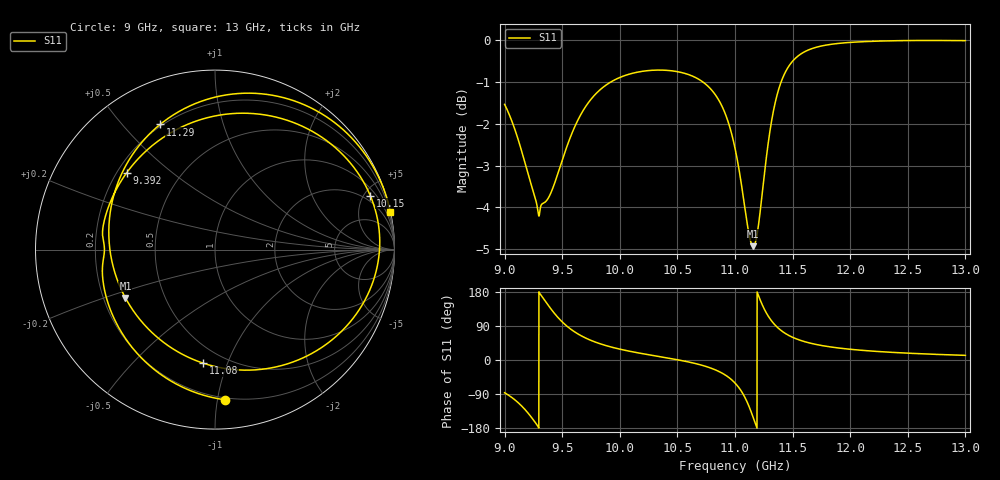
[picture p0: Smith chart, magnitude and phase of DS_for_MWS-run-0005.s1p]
! TOUCHSTONE file generated by CST DESIGN STUDIO
! Date and time: Tue Feb  4 13:35:29 2025
! Project name: C:\Work\MatlabApps\UnitCellOptimizationMatlab\CST\unitcell.cst
! Tree item: Tasks\Sweep1\SPara1\S-Parameters
! Header version: 2024
! Port assignment regex: !\s*Touchstone port\s*([0-9]+)\s*=\s*(CST MWS port|CST DES external port|CST DES block port)\s*(.+)\s* \(\"(.*)\"\)(\s*mode\s*([0-9]+))?.*
! Touchstone port assignment:
! Touchstone port 1 = CST DES external port 1 ("")
# GHz S MA R 50
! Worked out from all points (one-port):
!   4001 points, 9 GHz to 13 GHz, reference 50 ohm
!   lowest |S11| = -4.9 dB at 11.16 GHz (marker M1), VSWR 3.62, Z = 14.6 - j11.6 ohm
!   |S11| at or under -10 dB: nowhere
!   S11 on the Smith chart (normalised r, x): 9 GHz: 0.19, -1.05; 9.392 GHz: 0.24, +0.36; 10.15 GHz: 1.48, +5.53; 11.08 GHz: 0.39, -0.83; 11.29 GHz: 0.19, +0.64; 13 GHz: 0.04, +9.32
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9  0.8381 -86.4
9.126  0.7543 -114.9
9.241  0.6645 -154.5
9.326  0.6371 167.0
9.392  0.6523 138.9
9.5  0.7185 100.6
9.594  0.7796 77.1
9.723  0.8406 55.2
9.849  0.8773 40.9
10  0.9026 28.7
10.152  0.9159 19.2
10.5  0.9172 0.7
10.685  0.8982 -11.5
10.819  0.8645 -24.7
10.919  0.8143 -40.3
11  0.7429 -60.7
11.081  0.6365 -95.8
11.119  0.5887 -120.5
11.158  0.567 -151.6
11.189  0.583 -177.9
11.219  0.6245 158.2
11.293  0.7614 113.7
11.373  0.8679 84.8
11.5  0.9441 59.9
11.693  0.9799 41.7
12  0.9942 28.3
12.5  0.9993 18.0
13  0.9991 12.2
